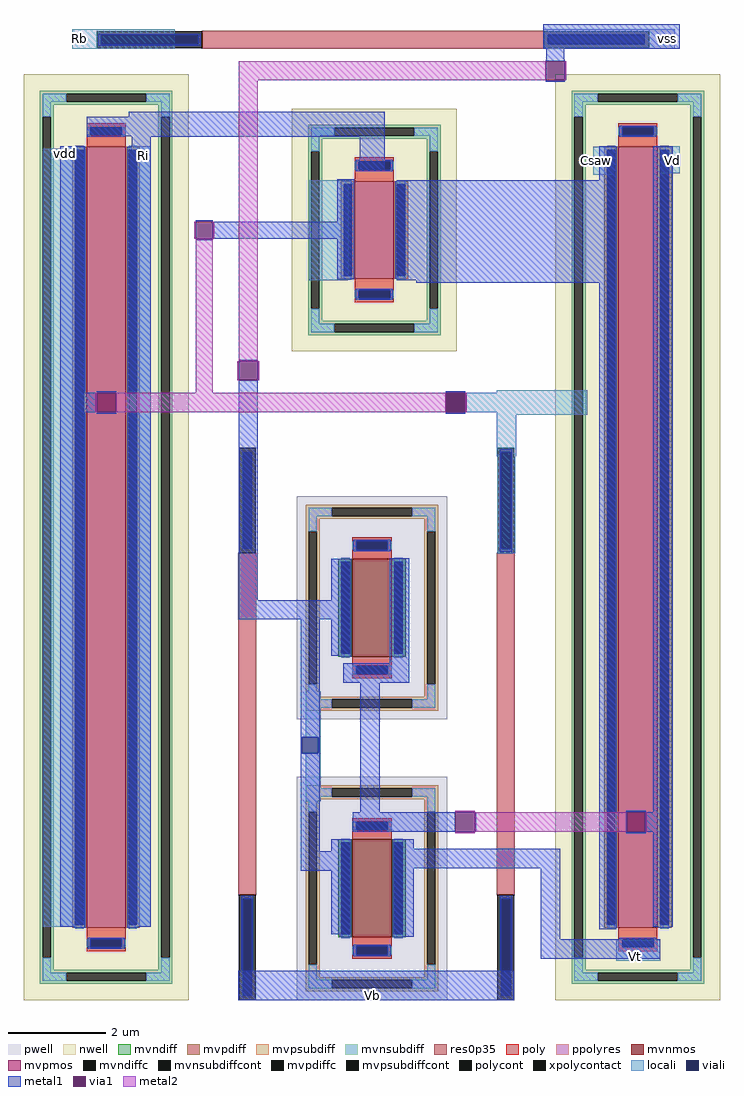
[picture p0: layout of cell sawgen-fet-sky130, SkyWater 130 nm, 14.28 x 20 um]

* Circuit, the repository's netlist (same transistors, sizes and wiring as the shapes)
**.subckt sawgen-fet-sky130 VDD VSS Rb Ri Csaw Vt Vb Vd
*.ipin VDD
*.ipin VSS
*.iopin Rb
*.iopin Ri
*.iopin Csaw
*.iopin Vt
*.iopin Vb
*.iopin Vd
XM5 Ri Ri VDD VDD sky130_fd_pr__pfet_g5v0d10v5 L=0.8 W=16 nf=1 ad='int((nf+1)/2) * W/nf * 0.29' as='int((nf+2)/2) * W/nf * 0.29'
+ pd='2*int((nf+1)/2) * (W/nf + 0.29)' ps='2*int((nf+2)/2) * (W/nf + 0.29)' nrd='0.29 / W' nrs='0.29 / W'
+ sa=0 sb=0 sd=0 mult=1 m=1 
XM6 Csaw Ri VDD VDD sky130_fd_pr__pfet_g5v0d10v5 L=0.8 W=2 nf=1 ad='int((nf+1)/2) * W/nf * 0.29' as='int((nf+2)/2) * W/nf * 0.29'
+ pd='2*int((nf+1)/2) * (W/nf + 0.29)' ps='2*int((nf+2)/2) * (W/nf + 0.29)' nrd='0.29 / W' nrs='0.29 / W'
+ sa=0 sb=0 sd=0 mult=1 m=1 
XR8 VSS Rb VSS sky130_fd_pr__res_high_po_0p35 W=0.35 L=20 mult=1 m=1
XM1 Vd Vt Csaw VDD sky130_fd_pr__pfet_g5v0d10v5 L=0.8 W=16 nf=1 ad='int((nf+1)/2) * W/nf * 0.29' as='int((nf+2)/2) * W/nf * 0.29'
+ pd='2*int((nf+1)/2) * (W/nf + 0.29)' ps='2*int((nf+2)/2) * (W/nf + 0.29)' nrd='0.29 / W' nrs='0.29 / W'
+ sa=0 sb=0 sd=0 mult=1 m=1 
XR3 Vb VDD VSS sky130_fd_pr__res_high_po_0p35 W=0.35 L=20 mult=1 m=1
XR4 VSS Vb VSS sky130_fd_pr__res_high_po_0p35 W=0.35 L=20 mult=1 m=1
XM4 Vt Vd VSS VSS sky130_fd_pr__nfet_g5v0d10v5 L=0.8 W=2 nf=1 ad='int((nf+1)/2) * W/nf * 0.29' as='int((nf+2)/2) * W/nf * 0.29'
+ pd='2*int((nf+1)/2) * (W/nf + 0.29)' ps='2*int((nf+2)/2) * (W/nf + 0.29)' nrd='0.29 / W' nrs='0.29 / W'
+ sa=0 sb=0 sd=0 mult=1 m=1 
XM2 Vd Vd VSS VSS sky130_fd_pr__nfet_g5v0d10v5 L=0.8 W=2 nf=1 ad='int((nf+1)/2) * W/nf * 0.29' as='int((nf+2)/2) * W/nf * 0.29'
+ pd='2*int((nf+1)/2) * (W/nf + 0.29)' ps='2*int((nf+2)/2) * (W/nf + 0.29)' nrd='0.29 / W' nrs='0.29 / W'
+ sa=0 sb=0 sd=0 mult=1 m=1 
**.ends
** flattened .save nodes
.end

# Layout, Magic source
magic
tech sky130A
magscale 1 2
<< locali >>
rect -2360 3560 -1940 3640
rect -430 3560 110 3640
rect -2410 3150 -2310 3160
rect -2116 3156 -2040 3160
rect -2480 -40 -2310 3150
rect -2130 -40 -2040 3156
rect -226 3042 -134 3158
rect 50 3050 130 3160
rect -1390 2610 -1230 3020
rect -620 2150 -250 2160
rect -830 2144 -250 2150
rect -830 2076 -824 2144
rect -756 2076 -250 2144
rect -830 2070 -250 2076
rect -620 2060 -250 2070
rect -620 1890 -540 2060
rect -618 1492 -544 1890
rect -1404 737 -1342 926
rect -1353 671 -1342 737
rect -1404 474 -1342 671
rect -130 -180 50 -90
<< viali >>
rect -824 2076 -756 2144
rect -1419 671 -1353 737
<< metal1 >>
rect -430 3560 130 3661
rect -417 3515 -343 3560
rect -419 3509 -341 3515
rect -419 3425 -341 3431
rect -2130 3280 -1079 3302
rect -2301 3200 -1079 3280
rect -2301 3199 -2158 3200
rect -2116 3199 -1079 3200
rect -2410 2150 -2310 3160
rect -2116 3156 -2040 3199
rect -2260 2150 -2180 2156
rect -2410 2070 -2260 2150
rect -2410 -40 -2310 2070
rect -2260 2064 -2180 2070
rect -2130 -40 -2040 3156
rect -1182 3059 -1079 3199
rect -1855 2850 -1785 2856
rect -1275 2850 -1205 3025
rect -200 3020 -130 3160
rect -1785 2780 -1205 2850
rect -1030 2848 -130 3020
rect -1855 2774 -1785 2780
rect -1275 2615 -1205 2780
rect -1036 2752 -130 2848
rect -1030 2610 -130 2752
rect -950 2600 -130 2610
rect -1679 2279 -1601 2285
rect -1679 1299 -1601 2201
rect -830 2150 -750 2156
rect -830 2064 -750 2070
rect -1299 1299 -1221 1469
rect -1679 1221 -1221 1299
rect -1425 737 -1347 1221
rect -1299 1071 -1221 1221
rect -1060 1040 -980 1470
rect -1250 960 -980 1040
rect -1425 671 -1419 737
rect -1353 671 -1347 737
rect -1425 270 -1347 671
rect -1180 430 -1100 960
rect -1210 350 -790 430
rect -710 350 -704 430
rect -1300 270 -1220 320
rect -1425 190 -1220 270
rect -1425 189 -1347 190
rect -1300 -70 -1220 190
rect -1040 280 -960 320
rect -1040 200 -360 280
rect -1040 -80 -960 200
rect -440 -90 -360 200
rect -200 -50 -130 2600
rect -90 430 -10 436
rect 20 430 100 3160
rect -10 350 100 430
rect -90 344 -10 350
rect 20 -40 100 350
rect -440 -170 50 -90
rect -1680 -340 -550 -220
<< via1 >>
rect -419 3431 -341 3509
rect -2260 2070 -2180 2150
rect -1855 2780 -1785 2850
rect -1679 2201 -1601 2279
rect -830 2144 -750 2150
rect -830 2076 -824 2144
rect -824 2076 -756 2144
rect -756 2076 -750 2144
rect -830 2070 -750 2076
rect -790 350 -710 430
rect -90 350 -10 430
<< metal2 >>
rect -1679 3431 -419 3509
rect -341 3431 -335 3509
rect -1861 2780 -1855 2850
rect -1785 2780 -1779 2850
rect -1855 2150 -1785 2780
rect -1679 2279 -1601 3431
rect -1685 2201 -1679 2279
rect -1601 2201 -1595 2279
rect -2266 2070 -2260 2150
rect -2180 2070 -830 2150
rect -750 2070 -744 2150
rect -790 430 -710 436
rect -710 350 -90 430
rect -10 350 -4 430
rect -790 344 -710 350
use sky130_fd_pr__nfet_g5v0d10v5_UQEUHA  sky130_fd_pr__nfet_g5v0d10v5_UQEUHA_1
transform 1 0 -1132 0 1 1268
box -308 -458 308 458
use sky130_fd_pr__res_high_po_0p35_QHYJR3  sky130_fd_pr__res_high_po_0p35_QHYJR3_0
transform -1 0 -1643 0 -1 792
box -37 -1132 37 1132
use sky130_fd_pr__pfet_g5v0d10v5_V4E25R  sky130_fd_pr__pfet_g5v0d10v5_V4E25R_0
transform 1 0 -1122 0 1 2817
box -338 -497 338 497
use sky130_fd_pr__nfet_g5v0d10v5_UQEUHA  sky130_fd_pr__nfet_g5v0d10v5_UQEUHA_0
transform 1 0 -1132 0 1 118
box -308 -458 308 458
use sky130_fd_pr__pfet_g5v0d10v5_TTPRW6  sky130_fd_pr__pfet_g5v0d10v5_TTPRW6_0
transform 1 0 -2222 0 1 1557
box -338 -1897 338 1897
use sky130_fd_pr__pfet_g5v0d10v5_TTPRW6  sky130_fd_pr__pfet_g5v0d10v5_TTPRW6_1
transform 1 0 -42 0 1 1557
box -338 -1897 338 1897
use sky130_fd_pr__res_high_po_0p35_QHYJR3  sky130_fd_pr__res_high_po_0p35_QHYJR3_2
transform 0 -1 -1128 1 0 3597
box -37 -1132 37 1132
use sky130_fd_pr__res_high_po_0p35_QHYJR3  sky130_fd_pr__res_high_po_0p35_QHYJR3_1
transform 1 0 -583 0 1 792
box -37 -1132 37 1132
<< labels >>
flabel locali 100 3100 100 3100 1 FreeSans 480 0 0 0 Vd
port 4 n
flabel locali -50 -160 -50 -160 1 FreeSans 480 0 0 0 Vt
port 5 n
flabel locali -210 3100 -210 3100 1 FreeSans 480 0 0 0 Csaw
port 7 n
flabel locali -2070 3120 -2070 3120 1 FreeSans 480 0 0 0 Ri
port 1 n
flabel locali -2330 3600 -2330 3600 1 FreeSans 480 0 0 0 Rb
port 2 n
flabel metal1 -1130 -320 -1130 -320 1 FreeSans 480 0 0 0 Vb
port 6 n
flabel metal1 80 3600 80 3600 1 FreeSans 480 0 0 0 vss
port 3 n
flabel metal1 -2390 3130 -2390 3130 1 FreeSans 480 0 0 0 vdd
port 0 n
<< end >>

# cell sky130_fd_pr__nfet_g5v0d10v5_UQEUHA: kit device sky130_fd_pr__nfet_g5v0d10v5, w 2 l 0.8 m 1 nf 1 diffcov 100 polycov 100 guard 1 glc 1 grc 1 gtc 1 gbc 1 tbcov 100 rlcov 100 topc 1 botc 1 poverlap 0 doverlap 1 lmin 0.50 wmin 0.42 compatible {sky130_fd_pr__nfet_01v8 sky130_fd_pr__nfet_01v8_lvt sky130_fd_bs_flash__special_sonosfet_star sky130_fd_pr__nfet_g5v0d10v5 sky130_fd_pr__nfet_05v0_nvt sky130_fd_pr__nfet_03v3_nvt} full_metal 1 viasrc 100 viadrn 100 viagate 100 viagb 0 viagr 0 viagl 0 viagt 0

# cell sky130_fd_pr__res_high_po_0p35_QHYJR3: kit device sky130_fd_pr__res_high_po_0p35, w 0.350 l 7 m 1 nx 1 wmin 0.350 lmin 0.50 rho 319.8 val 6.505k dummy 0 dw 0.0 term 19.188 sterm 0.0 caplen 0 guard 0 glc 0 grc 0 gtc 0 gbc 0 compatible {sky130_fd_pr__res_high_po_0p35 sky130_fd_pr__res_high_po_0p69 sky130_fd_pr__res_high_po_1p41 sky130_fd_pr__res_high_po_2p85 sky130_fd_pr__res_high_po_5p73} full_metal 0 wmax 0.350 vias 1 n_guard 0 hv_guard 0 viagb 0 viagt 0 viagl 0 viagr 0

# cell sky130_fd_pr__pfet_g5v0d10v5_V4E25R: kit device sky130_fd_pr__pfet_g5v0d10v5, w 2 l .8 m 1 nf 1 diffcov 100 polycov 100 guard 1 glc 1 grc 1 gtc 1 gbc 1 tbcov 100 rlcov 100 topc 1 botc 1 poverlap 0 doverlap 1 lmin 0.50 wmin 0.42 compatible {sky130_fd_pr__pfet_01v8 sky130_fd_pr__pfet_01v8_lvt sky130_fd_pr__pfet_01v8_hvt sky130_fd_pr__pfet_g5v0d10v5} full_metal 1 viasrc 100 viadrn 100 viagate 100 viagb 0 viagr 0 viagl 0 viagt 0

# cell sky130_fd_pr__pfet_g5v0d10v5_TTPRW6: kit device sky130_fd_pr__pfet_g5v0d10v5, w 16 l 0.8 m 1 nf 1 diffcov 100 polycov 100 guard 1 glc 1 grc 1 gtc 1 gbc 1 tbcov 100 rlcov 100 topc 1 botc 1 poverlap 0 doverlap 1 lmin 0.50 wmin 0.42 compatible {sky130_fd_pr__pfet_01v8 sky130_fd_pr__pfet_01v8_lvt sky130_fd_pr__pfet_01v8_hvt sky130_fd_pr__pfet_g5v0d10v5} full_metal 1 viasrc 100 viadrn 100 viagate 100 viagb 0 viagr 0 viagl 0 viagt 0
